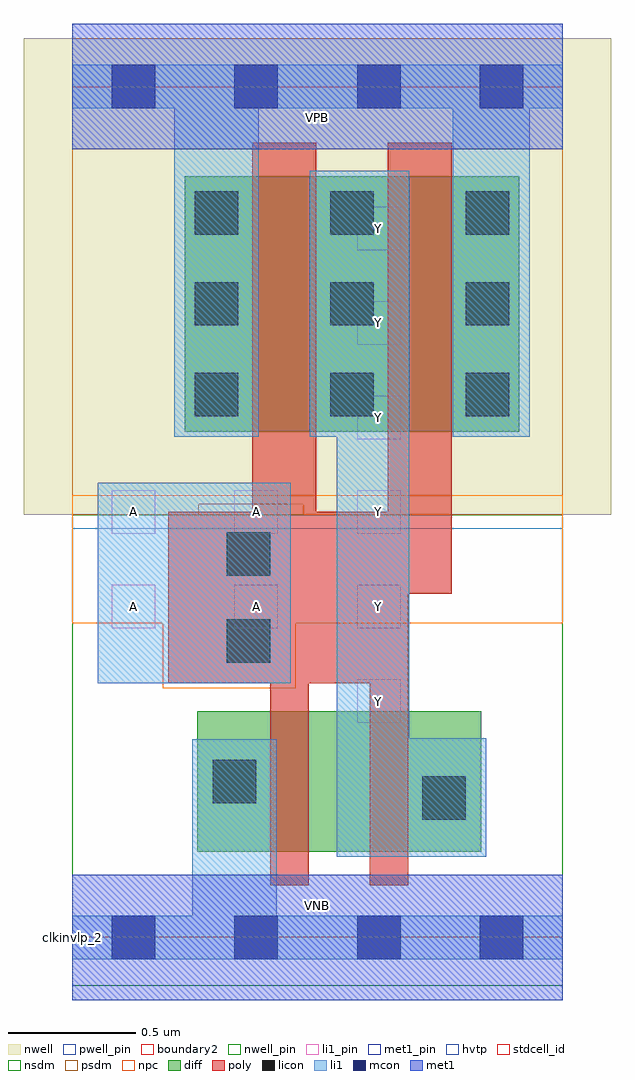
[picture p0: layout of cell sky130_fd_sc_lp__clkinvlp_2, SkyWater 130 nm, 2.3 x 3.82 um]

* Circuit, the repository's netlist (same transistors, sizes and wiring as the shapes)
* Copyright 2020 The SkyWater PDK Authors
*
* Licensed under the Apache License, Version 2.0 (the "License");
* you may not use this file except in compliance with the License.
* You may obtain a copy of the License at
*
*     https://www.apache.org/licenses/LICENSE-2.0
*
* Unless required by applicable law or agreed to in writing, software
* distributed under the License is distributed on an "AS IS" BASIS,
* WITHOUT WARRANTIES OR CONDITIONS OF ANY KIND, either express or implied.
* See the License for the specific language governing permissions and
* limitations under the License.
*
* SPDX-License-Identifier: Apache-2.0

.SUBCKT sky130_fd_sc_lp__clkinvlp_2 A VGND VNB VPB VPWR Y
*.PININFO A:I VGND:I VNB:I VPB:I VPWR:I Y:O
MI9 Y A VPWR VPB sky130_fd_pr__pfet_01v8_hvt m=2 w=1.0U l=0.25U mult=1 sa=0.265
+ sb=0.265 sd=0.28 area=0.063 perim=1.14
MI11 Y A net27 VNB sky130_fd_pr__nfet_01v8 m=1 w=0.55U l=0.15U mult=1 sa=0.265
+ sb=0.265 sd=0.28 area=0.063 perim=1.14
MI10 net27 A VGND VNB sky130_fd_pr__nfet_01v8 m=1 w=0.55U l=0.15U mult=1 sa=0.265
+ sb=0.265 sd=0.28 area=0.063 perim=1.14
.ENDS sky130_fd_sc_lp__clkinvlp_2

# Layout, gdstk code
import gdstk
lib = gdstk.Library(unit=1e-6, precision=1e-09)
def R(c, l, rs):  # rectangles x0, y0, x1, y1
    for r in rs: c.add(gdstk.rectangle(r[:2], r[2:], *l))
def A(c, l, x, y, w, h, nx, ny, dx, dy):  # array of equal rectangles
    R(c, l, [(x+i*dx, y+j*dy, x+i*dx+w, y+j*dy+h) for i in range(nx) for j in range(ny)])
def P(c, l, *ps):  # polygons
    for p in ps: c.add(gdstk.Polygon(p, *l))
nwell_pin = (64, 16)
nwell = (64, 20)
diff = (65, 20)
poly = (66, 20)
licon = (66, 44)
li1_pin = (67, 16)
li1 = (67, 20)
mcon = (67, 44)
met1_pin = (68, 16)
met1 = (68, 20)
hvtp = (78, 44)
stdcell_id = (81, 4)
nsdm = (93, 44)
psdm = (94, 20)
npc = (95, 20)
pwell_pin = (122, 16)
boundary2 = (236, 0)

sky130_fd_sc_lp__clkinvl = lib.new_cell('sky130_fd_sc_lp__clkinvlp_2')
R(sky130_fd_sc_lp__clkinvl, nwell_pin, [(0,3.085,1.92,3.33)])
R(sky130_fd_sc_lp__clkinvl, nwell, [(-0.19,1.655,2.11,3.52)])
R(sky130_fd_sc_lp__clkinvl, diff, [(0.49,0.335,1.6,0.885), (0.44,1.98,1.75,2.98)])
P(sky130_fd_sc_lp__clkinvl, poly, [(1.485,3.11),(1.235,3.11),(1.235,1.665),(0.955,1.665),(0.955,3.11),(0.705,3.11),(0.705,1.665),(0.375,1.665),(0.375,0.995),(0.775,0.995),(0.775,0.205),(0.925,0.205),(0.925,0.995),(1.165,0.995),(1.165,0.205),(1.315,0.205),(1.315,1.345),(1.485,1.345)])
A(sky130_fd_sc_lp__clkinvl, licon, 0.48, 2.04, 0.17, 0.17, 3, 3, 0.53, 0.355)
R(sky130_fd_sc_lp__clkinvl, licon, [(1.37,0.46,1.54,0.63), (0.55,0.525,0.72,0.695), (0.605,1.075,0.775,1.245), (0.605,1.415,0.775,1.585)])
A(sky130_fd_sc_lp__clkinvl, li1_pin, 0.155, 1.21, 0.17, 0.17, 3, 2, 0.48, 0.37)
A(sky130_fd_sc_lp__clkinvl, li1_pin, 1.115, 1.95, 0.17, 0.17, 1, 3, 0, 0.37)
R(sky130_fd_sc_lp__clkinvl, li1_pin, [(1.115,0.84,1.285,1.01)])
R(sky130_fd_sc_lp__clkinvl, li1, [(0.1,0.995,0.855,1.78)])
P(sky130_fd_sc_lp__clkinvl, li1, [(1.62,0.78),(1.32,0.78),(1.32,3),(0.93,3),(0.93,1.96),(1.035,1.96),(1.035,0.315),(1.62,0.315)],
  [(1.92,3.415),(0,3.415),(0,3.245),(0.4,3.245),(0.4,1.96),(0.73,1.96),(0.73,3.245),(1.49,3.245),(1.49,1.96),(1.79,1.96),(1.79,3.245),(1.92,3.245)],
  [(1.92,0.085),(0.8,0.085),(0.8,0.775),(0.47,0.775),(0.47,0.085),(0,0.085),(0,-0.085),(1.92,-0.085)])
A(sky130_fd_sc_lp__clkinvl, mcon, 0.155, -0.085, 0.17, 0.17, 4, 2, 0.48, 3.33)
R(sky130_fd_sc_lp__clkinvl, met1_pin, [(0,0,1.92,0.245), (0,3.085,1.92,3.33)])
R(sky130_fd_sc_lp__clkinvl, met1, [(0,-0.245,1.92,0.245), (0,3.085,1.92,3.575)])
R(sky130_fd_sc_lp__clkinvl, hvtp, [(0,1.6,1.92,3.33)])
R(sky130_fd_sc_lp__clkinvl, stdcell_id, [(0,0,1.92,3.33)])
R(sky130_fd_sc_lp__clkinvl, nsdm, [(0,-0.19,1.92,1.655)])
P(sky130_fd_sc_lp__clkinvl, psdm, [(1.92,3.52),(0,3.52),(0,1.655),(0.495,1.655),(0.495,1.695),(0.905,1.695),(0.905,1.655),(1.92,1.655)])
P(sky130_fd_sc_lp__clkinvl, npc, [(1.92,1.73),(0,1.73),(0,1.23),(0.355,1.23),(0.355,0.975),(0.875,0.975),(0.875,1.23),(1.92,1.23)])
R(sky130_fd_sc_lp__clkinvl, pwell_pin, [(0,0,1.92,0.245)])
R(sky130_fd_sc_lp__clkinvl, boundary2, [(0,0,1.92,3.33)])
sky130_fd_sc_lp__clkinvl.add(gdstk.Label('VNB', (0.96,0.123), layer=64, texttype=59))
sky130_fd_sc_lp__clkinvl.add(gdstk.Label('VPB', (0.96,3.208), layer=64, texttype=5))
sky130_fd_sc_lp__clkinvl.add(gdstk.Label('clkinvlp_2', (0,0), layer=83, texttype=44))
sky130_fd_sc_lp__clkinvl.add(gdstk.Label('VPWR', (0.96,3.208), layer=68, texttype=5))
sky130_fd_sc_lp__clkinvl.add(gdstk.Label('VGND', (0.96,0.123), layer=68, texttype=5))
sky130_fd_sc_lp__clkinvl.add(gdstk.Label('A', (0.24,1.295), layer=67, texttype=5))
sky130_fd_sc_lp__clkinvl.add(gdstk.Label('A', (0.72,1.665), layer=67, texttype=5))
sky130_fd_sc_lp__clkinvl.add(gdstk.Label('A', (0.72,1.295), layer=67, texttype=5))
sky130_fd_sc_lp__clkinvl.add(gdstk.Label('A', (0.24,1.665), layer=67, texttype=5))
sky130_fd_sc_lp__clkinvl.add(gdstk.Label('Y', (1.2,0.925), layer=67, texttype=5))
sky130_fd_sc_lp__clkinvl.add(gdstk.Label('Y', (1.2,1.295), layer=67, texttype=5))
sky130_fd_sc_lp__clkinvl.add(gdstk.Label('Y', (1.2,1.665), layer=67, texttype=5))
sky130_fd_sc_lp__clkinvl.add(gdstk.Label('Y', (1.2,2.035), layer=67, texttype=5))
sky130_fd_sc_lp__clkinvl.add(gdstk.Label('Y', (1.2,2.405), layer=67, texttype=5))
sky130_fd_sc_lp__clkinvl.add(gdstk.Label('Y', (1.2,2.775), layer=67, texttype=5))

lib.write_gds('sky130_fd_sc_lp__clkinvlp_2.gds')
